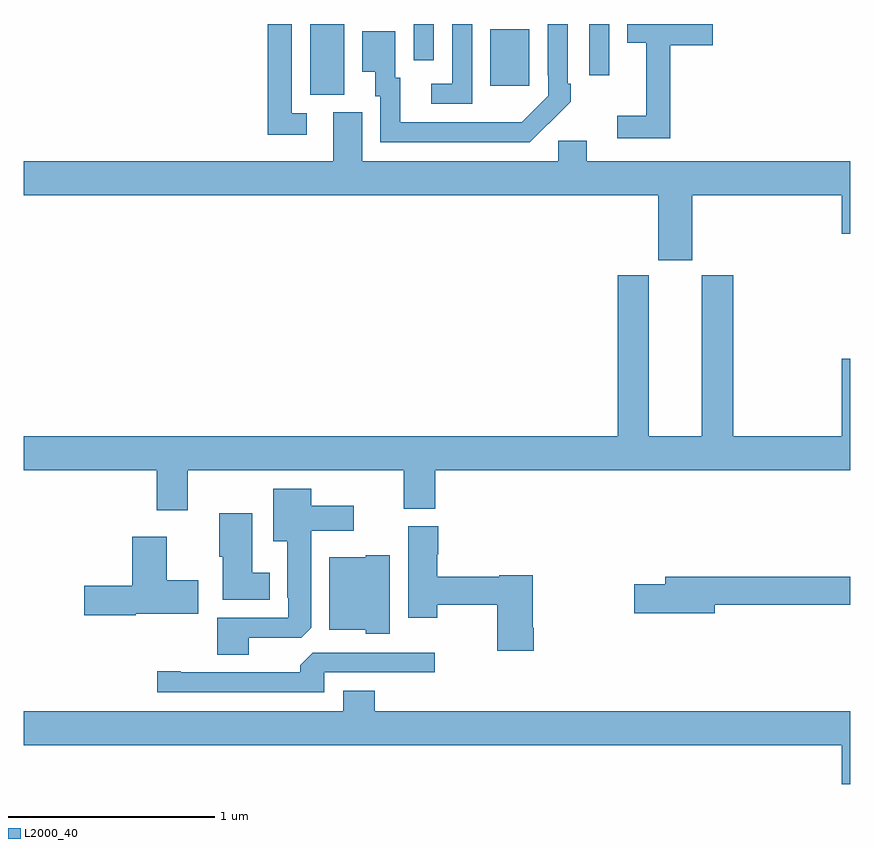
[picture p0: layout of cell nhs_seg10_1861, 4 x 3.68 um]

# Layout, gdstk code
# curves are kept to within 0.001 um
import gdstk
lib = gdstk.Library(unit=1e-6, precision=1e-09)
def R(c, l, rs):  # rectangles x0, y0, x1, y1
    for r in rs: c.add(gdstk.rectangle(r[:2], r[2:], *l))
def P(c, l, *ps):  # polygons
    for p in ps: c.add(gdstk.Polygon(p, *l))
L2000_40 = (2000, 40)

nhs_seg10_1861 = lib.new_cell('nhs_seg10_1861')
R(nhs_seg10_1861, L2000_40, [(210.386,1278.157,210.55,1278.5), (211.259,1278.201,211.447,1278.475), (211.737,1278.252,211.833,1278.5), (210.888,1278.324,210.984,1278.5)])
P(nhs_seg10_1861, L2000_40, [(210.37,1278.069),(210.297,1278.069),(210.297,1278.5),(210.181,1278.5),(210.181,1277.964),(210.37,1277.964)],
  [(211.17,1278.5),(211.074,1278.5),(211.074,1278.21),(210.972,1278.21),(210.972,1278.114),(211.17,1278.114)],
  [(211.541,1278.019),(211.542,1278.018),(211.647,1278.123),(211.647,1278.211),(211.632,1278.211),(211.632,1278.5),(211.536,1278.5),(211.536,1278.253),(211.539,1278.253),(211.539,1278.153),(211.411,1278.025),(210.823,1278.024),(210.823,1278.24),(210.799,1278.24),(210.799,1278.466),(210.638,1278.466),(210.638,1278.269),(210.701,1278.269),(210.701,1278.15),(210.726,1278.15),(210.726,1277.928),(211.45,1277.928)],
  [(212.129,1278.398),(212.335,1278.398),(212.335,1278.5),(211.922,1278.5),(211.922,1278.41),(212.012,1278.41),(212.012,1278.055),(211.872,1278.055),(211.872,1277.946),(212.129,1277.946)],
  [(212.236,1277.672),(212.96,1277.672),(212.96,1277.484),(213,1277.484),(213,1277.836),(211.726,1277.836),(211.726,1277.934),(211.587,1277.934),(211.587,1277.836),(210.637,1277.836),(210.637,1278.072),(210.497,1278.072),(210.497,1277.836),(209,1277.836),(209,1277.672),(212.072,1277.672),(212.072,1277.355),(212.236,1277.355)],
  [(209.794,1276.34),(210.839,1276.34),(210.839,1276.153),(210.992,1276.153),(210.992,1276.34),(213,1276.34),(213,1276.879),(212.96,1276.879),(212.96,1276.504),(212.435,1276.504),(212.435,1277.283),(212.282,1277.283),(212.282,1276.504),(212.026,1276.504),(212.026,1277.283),(211.874,1277.283),(211.874,1276.504),(209,1276.504),(209,1276.34),(209.642,1276.34),(209.642,1276.146),(209.794,1276.146)],
  [(210.088,1275.528),(210.342,1275.528),(210.391,1275.577),(210.391,1276.046),(210.598,1276.046),(210.598,1276.168),(210.391,1276.168),(210.391,1276.249),(210.206,1276.249),(210.206,1275.995),(210.275,1275.995),(210.275,1275.721),(210.279,1275.721),(210.279,1275.624),(209.936,1275.624),(209.936,1275.445),(210.088,1275.445)],
  [(210.19,1275.844),(210.106,1275.844),(210.106,1276.132),(209.945,1276.132),(209.945,1275.921),(209.963,1275.921),(209.963,1275.713),(210.19,1275.713)],
  [(211.469,1275.577),(211.464,1275.577),(211.464,1275.832),(211.302,1275.832),(211.302,1275.824),(211.002,1275.824),(211.002,1275.932),(211.007,1275.932),(211.007,1276.068),(210.86,1276.068),(210.86,1275.624),(211.002,1275.624),(211.002,1275.688),(211.291,1275.688),(211.291,1275.465),(211.469,1275.465)],
  [(209.541,1275.644),(209.845,1275.644),(209.845,1275.807),(209.692,1275.807),(209.692,1276.018),(209.525,1276.018),(209.525,1275.779),(209.292,1275.779),(209.292,1275.637),(209.541,1275.637)],
  [(210.772,1275.928),(210.654,1275.928),(210.654,1275.919),(210.479,1275.919),(210.479,1275.566),(210.654,1275.566),(210.654,1275.548),(210.772,1275.548)],
  [(212.344,1275.688),(213,1275.688),(213,1275.824),(212.105,1275.824),(212.105,1275.788),(211.956,1275.788),(211.956,1275.646),(212.344,1275.646)],
  [(210.453,1275.36),(210.988,1275.36),(210.988,1275.456),(210.399,1275.456),(210.338,1275.394),(210.338,1275.36),(209.758,1275.36),(209.758,1275.365),(209.646,1275.365),(209.646,1275.264),(210.453,1275.264)],
  [(213,1275.172),(210.698,1275.172),(210.698,1275.271),(210.545,1275.271),(210.545,1275.172),(209,1275.172),(209,1275.008),(212.96,1275.008),(212.96,1274.82),(213,1274.82)])

lib.write_gds('nhs_seg10_1861.gds')
